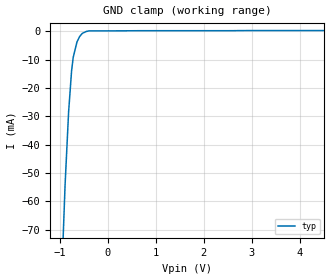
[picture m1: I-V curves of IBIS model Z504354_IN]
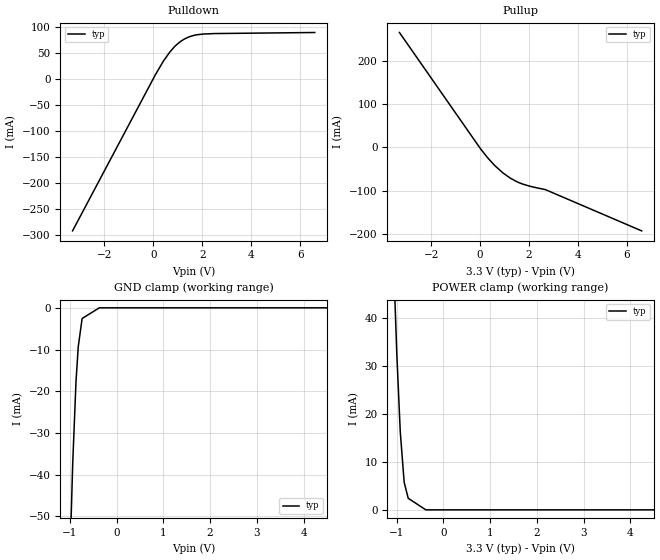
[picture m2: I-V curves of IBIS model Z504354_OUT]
| YOU ARE ONLY AUTHORIZED TO USE THIS SOFTWARE
| ACCORDING TO LICENSOR'S LICENSE RESTRICTIONS.
[IBIS Ver] 3.1
[File Name] mc74lcx86dt.ibs
[File Rev] 2.0
[Source] Measured and created by ICX Technology
[Date] Friday 7/14/00 9:08:13 AM
[Copyright]
| (C) COPYRIGHT 1993-2000
| MENTOR GRAPHICS CORPORATION
| ICX STANDARD LIBRARY, ICX PROJECT MODELING,
| ICX CUSTOM MODELING, ICX VENDOR MODEL
| ALL RIGHTS RESERVED.
| THE FOLLOWING ARE TRADEMARKS OR SERVICE MARKS OF
| MENTOR GRAPHICS CORPORATION:ICX (R), ICX STANDARD
| LIBRARY(R), ICX PROJECT MODELING(R), ICX CUSTOM
| MODELING(R), qualityIBIS(TM), MODELVIEWER(TM),
| AND MODELEDITOR(TM)
| ALL COPIES OF SOFTWARE, INCLUDING BUT NOT LIMITED TO
| ANY MODIFICATIONS, ENHANCEMENTS OR DERIVATIVE WORKS,
| MUST CONTAIN ALL MENTOR GRAPHICS CORPORATION'S
| NOTICES AND LEGENDS, INCLUDING THOSE EMBEDDED IN
| SOFTWARE AND THOSE AFFIXED TO SOFTWARE MEDIUM
| AND CONTAINER, AS RECEIVED FROM MENTOR GRAPHICS
| CORPORATION.
|  ZAP Model Builder 2.7
[Component] MC74LCX86DT
[Manufacturer] OnSemiconductor
[Package]
| variable   typ   min   max
R_pkg  .16ohms NA NA
L_pkg  3.979nH NA NA
C_pkg  .343pF NA NA
[Pin] signal_name  model_name  R_pin  L_pin C_pin
1 A Z504354_IN .2 5.07n .5p
2 B Z504354_IN .16 3.94n .36p
3 Y Z504354_OUT .14 3.43n .23p
4 A Z504354_IN .12 2.97n .22p
5 B Z504354_IN .14 3.43n .23p
6 Y Z504354_OUT .16 3.94n .36p
7 GROUND GND .2 5.07n .5p
8 Y Z504354_OUT .2 5.07n .5p
9 A Z504354_IN .16 3.94n .36p
10 B Z504354_IN .14 3.43n .23p
11 Y Z504354_OUT .12 2.97n .22p
12 A Z504354_IN .14 3.43n .23p
13 B Z504354_IN .16 3.94n .36p
14 VCC POWER .2 5.07n .5p
| Models and submodels in the file (2): Z504354_IN (Input), Z504354_OUT (Output)
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| (C) COPYRIGHT 1993-2000
| MENTOR GRAPHICS CORPORATION
| ICX STANDARD LIBRARY, ICX PROJECT MODELING,
| ICX CUSTOM MODELING, ICX VENDOR MODEL
| ALL RIGHTS RESERVED.
| THE FOLLOWING ARE TRADEMARKS OR SERVICE MARKS OF
| MENTOR GRAPHICS CORPORATION:ICX (R), ICX STANDARD
| LIBRARY(R), ICX PROJECT MODELING(R), ICX CUSTOM
| MODELING(R), qualityIBIS(TM), MODELVIEWER(TM),
| AND MODELEDITOR(TM)
| ALL COPIES OF SOFTWARE, INCLUDING BUT NOT LIMITED TO
| ANY MODIFICATIONS, ENHANCEMENTS OR DERIVATIVE WORKS,
| MUST CONTAIN ALL MENTOR GRAPHICS CORPORATION'S
| NOTICES AND LEGENDS, INCLUDING THOSE EMBEDDED IN
| SOFTWARE AND THOSE AFFIXED TO SOFTWARE MEDIUM
| AND CONTAINER, AS RECEIVED FROM MENTOR GRAPHICS
| CORPORATION.
| Model Application Version 1.89 2/18/99.
[Model] Z504354_IN
Model_type Input
Vinl = 800.0mV
Vinh = 2.000V
C_comp 4.000pF NA NA
| variable typ   min   max
[Voltage Range] 3.300V NA NA
[GND Clamp Reference] 0.000V NA NA
[POWER Clamp Reference] 3.300V NA NA
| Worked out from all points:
|   GND clamp passes 1 mA (typ) near -0.55 V on its own axis
[GND Clamp]
-3.3V     -3.672A    NA         NA
-1.025V   -115.6mA   NA         NA
-891mV    -54.05mA   NA         NA
-817.9mV  -28.45mA   NA         NA
-756.5mV  -14.06mA   NA         NA
-722.6mV  -9.252mA   NA         NA
-644.5mV  -3.819mA   NA         NA
-588mV    -1.848mA   NA         NA
-532.1mV  -723.2uA   NA         NA
-449.3mV  -73.28uA   NA         NA
684.6mV   198.4uA    NA         NA
6.6V      252.2uA    NA         NA
[POWER Clamp]
-3.3V     0A         NA         NA
6.6V      0A         NA         NA
| (C) COPYRIGHT 1993-2000
| MENTOR GRAPHICS CORPORATION
| ICX STANDARD LIBRARY, ICX PROJECT MODELING,
| ICX CUSTOM MODELING, ICX VENDOR MODEL
| ALL RIGHTS RESERVED.
| THE FOLLOWING ARE TRADEMARKS OR SERVICE MARKS OF
| MENTOR GRAPHICS CORPORATION:ICX (R), ICX STANDARD
| LIBRARY(R), ICX PROJECT MODELING(R), ICX CUSTOM
| MODELING(R), qualityIBIS(TM), MODELVIEWER(TM),
| AND MODELEDITOR(TM)
| ALL COPIES OF SOFTWARE, INCLUDING BUT NOT LIMITED TO
| ANY MODIFICATIONS, ENHANCEMENTS OR DERIVATIVE WORKS,
| MUST CONTAIN ALL MENTOR GRAPHICS CORPORATION'S
| NOTICES AND LEGENDS, INCLUDING THOSE EMBEDDED IN
| SOFTWARE AND THOSE AFFIXED TO SOFTWARE MEDIUM
| AND CONTAINER, AS RECEIVED FROM MENTOR GRAPHICS
| CORPORATION.
| Model Application Version 1.89 2/18/99.
[Model] Z504354_OUT
Model_type Output
Vref=0.000V
Rref=500.0ohms
Cref=50.00pF
Vmeas=1.500V
C_comp 8.000pF NA NA
| variable typ   min   max
[Voltage Range] 3.300V NA NA
[POWER Clamp Reference] 3.300V NA NA
[Pullup Reference] 3.300V NA NA
[Pulldown Reference] 0.000V NA NA
[GND Clamp Reference] 0.000V NA NA
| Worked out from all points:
|   slope of the pulldown table from 0 to 0.495 V, typ, clamps not added: 12.7 ohm
|   slope of the pullup table from 0 to 0.495 V, typ, clamps not added: 14.7 ohm
[GND Clamp]
-3.3V     -1.208A    NA         NA
-1.045V   -78.87mA   NA         NA
-937.5mV  -37.27mA   NA         NA
-867.7mV  -17.78mA   NA         NA
-819.1mV  -9.328mA   NA         NA
-736.2mV  -2.565mA   NA         NA
-368.1mV  0A         NA         NA
6.6V      0A         NA         NA
[Pulldown]
-3.3V     -291.7mA   NA         NA
78.16mV   6.948mA    NA         NA
410.3mV   33.44mA    NA         NA
669mV     50.69mA    NA         NA
993.7mV   66.79mA    NA         NA
1.147V    72.42mA    NA         NA
1.455V    80.04mA    NA         NA
1.69V     83.34mA    NA         NA
2.089V    85.78mA    NA         NA
6.6V      88.52mA    NA         NA
[Pullup]
-3.3V     265.5mA    NA         NA
17mV      -3.353mA   NA         NA
312mV     -24.29mA   NA         NA
610mV     -42.63mA   NA         NA
933mV     -58.97mA   NA         NA
1.22V     -70.47mA   NA         NA
1.586V    -81.35mA   NA         NA
2.035V    -89.67mA   NA         NA
2.67V     -97.52mA   NA         NA
6.6V      -192.7mA   NA         NA
[POWER Clamp]
-3.3V     679.8mA    NA         NA
-997mV    32.36mA    NA         NA
-923mV    16.25mA    NA         NA
-840mV    5.759mA    NA         NA
-753mV    2.401mA    NA         NA
-376.5mV  0A         NA         NA
6.6V      0A         NA         NA
[Ramp]
| variable typ min max
dV/dt_r 1.944/292.5p NA NA
dV/dt_f 1.944/699.4p NA NA
R_load = 500.0Ohms
